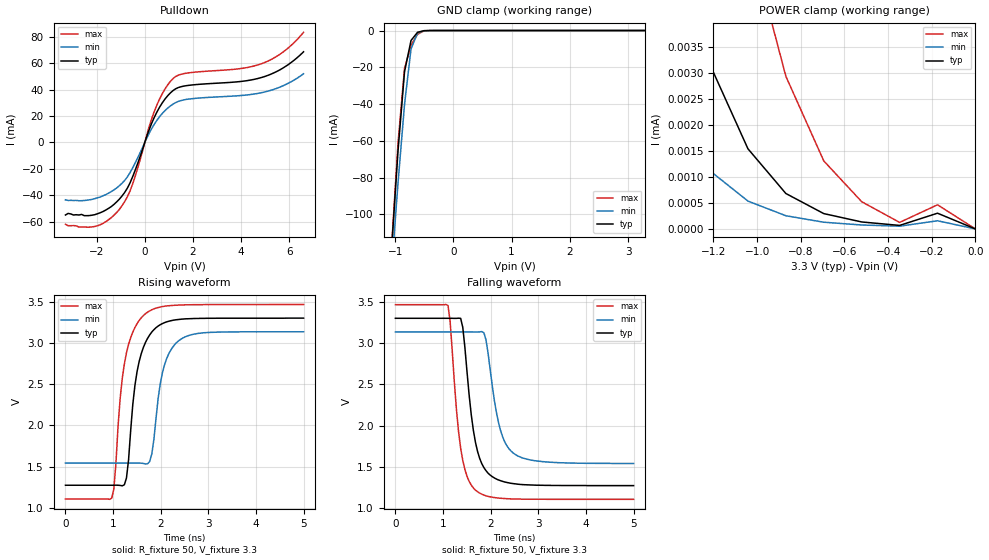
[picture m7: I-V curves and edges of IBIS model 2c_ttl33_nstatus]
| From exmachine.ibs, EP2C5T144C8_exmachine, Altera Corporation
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[Model] 2c_ttl33_nstatus
Model_type I/O_open_drain
Vinl  = 0.8V
Vinh  = 1.7V
Vmeas = 1.5675V
Rref  = 1M
Cref  = 0pF
Vref  = 0V
C_comp  3.8pF   NA   NA
[Temperature Range] 25   85   0
[Voltage Range]   3.3   3.135   3.465
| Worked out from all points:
|   slope of the pulldown table from 0 to 0.495 V, typ, clamps not added: 21.8 ohm
|   GND clamp passes 1 mA (typ) near -0.62 V on its own axis
|   rising waveform, R_fixture 50, V_fixture 3.3: 20-80 % time 270ps typ, 268ps min, 268ps max; typ from 1.27 V to 3.3 V
|   falling waveform, R_fixture 50, V_fixture 3.3: 20-80 % time 262ps typ, 295ps min, 232ps max; typ from 3.3 V to 1.27 V
[GND Clamp]
| voltage   I (typ)   I (min)   I (max)
-3.3V     -1.379A    -1.218A    -1.475A
-1.063V   -119.5mA   -130.7mA   -118.6mA
-950.8mV  -65.61mA   -83.07mA   -61.36mA
-839mV    -22.42mA   -40.22mA   -20.68mA
-727.1mV  -5.406mA   -10.03mA   -7.969mA
-615.2mV  -953.2uA   -1.404mA   -2.067mA
-503.4mV  -74.89uA   -141.3uA   -180.2uA
-391.5mV  -3.887uA   -8.056uA   -7.422uA
3.3V      9.62nA     165.5nA    -16.49nA
[Pulldown]
| voltage   I (typ)   I (min)   I (max)
-3.3V     -55mA      -43.5mA    -62mA
-1.958V   -53.99mA   -41.93mA   -63.1mA
-1.063V   -43.09mA   -32.87mA   -50.85mA
-727.1mV  -34.72mA   -26.22mA   -41.26mA
-503.4mV  -25.88mA   -19.22mA   -31.32mA
167.8mV   8.987mA    6.473mA    11.11mA
503.4mV   23.02mA    16.76mA    28.38mA
1.175V    39.25mA    29mA       48.35mA
1.734V    42.96mA    32.55mA    52.42mA
4.863V    49.21mA    37.69mA    59.67mA
5.732V    56.18mA    42.75mA    68.2mA
6.6V      68.61mA    51.96mA    83.35mA
[POWER Clamp]
| voltage   I (typ)   I (min)   I (max)
-3.3V     85.54uA    53.94uA    123.1uA
-1.563V   9.366uA    3.92uA     20.9uA
-1.389V   5.742uA    2.183uA    14.76uA
-1.216V   3.156uA    1.117uA    9.675uA
-1.042V   1.541uA    535.7nA    5.705uA
-868.4mV  681.7nA    254.1nA    2.935uA
-694.7mV  295.3nA    129.5nA    1.308uA
-521.1mV  134.7nA    76.18nA    524nA
-347.4mV  68.09nA    53.85nA    125.7nA
-173.7mV  302.9nA    157.4nA    464.6nA
0V        0A         0A         0A
[Ramp]
dV/dt_r   1.216e+000/2.696e-010  9.552e-001/2.678e-010  1.414e+000/2.677e-010
dV/dt_f   1.216e+000/2.624e-010  9.558e-001/2.947e-010  1.414e+000/2.321e-010
R_load = 50ohms
[Rising Waveform]
R_fixture   = 50
V_fixture   = 3.3
V_fixture_min = 3.135
V_fixture_max = 3.465
| time   V (typ)   V (min)   V (max)
0s        1.274V     1.542V     1.108V
971.5ps   1.274V     1.542V     1.117V
1.237ns   1.28V      1.542V     2.745V
1.326ns   1.585V     1.542V     2.983V
1.459ns   2.483V     1.542V     3.186V
1.68ns    3.004V     1.533V     3.353V
1.813ns   3.131V     1.653V     3.401V
2.079ns   3.245V     2.731V     3.444V
2.389ns   3.284V     3.031V     3.458V
5ns       3.3V       3.134V     3.465V
[Falling Waveform]
R_fixture   = 50
V_fixture   = 3.3
V_fixture_min = 3.135
V_fixture_max = 3.465
| time   V (typ)   V (min)   V (max)
0s        3.3V       3.135V     3.465V
1.104ns   3.3V       3.135V     3.455V
1.282ns   3.299V     3.135V     2.193V
1.415ns   3.189V     3.135V     1.579V
1.592ns   2.135V     3.135V     1.28V
1.68ns    1.799V     3.134V     1.22V
1.858ns   1.492V     3.125V     1.159V
2.168ns   1.342V     2.03V      1.123V
2.478ns   1.298V     1.667V     1.112V
5ns       1.274V     1.542V     1.108V
